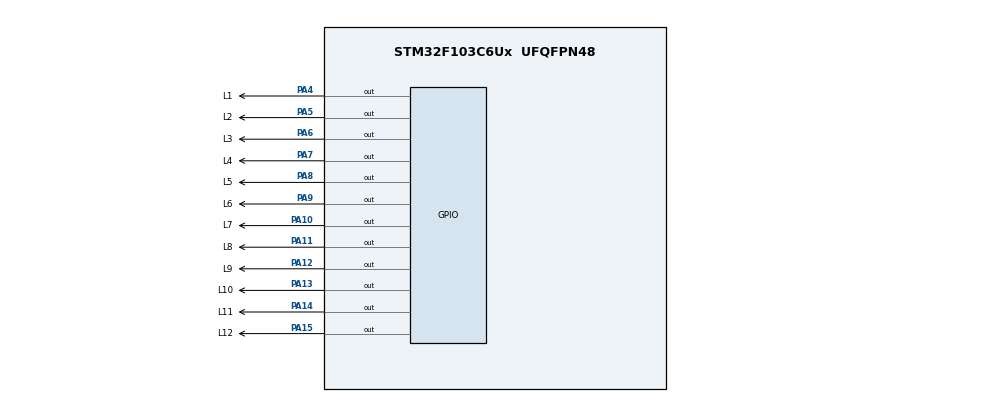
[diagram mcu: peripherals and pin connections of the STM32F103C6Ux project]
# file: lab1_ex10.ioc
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Mcu.Family=STM32F1
Mcu.Name=STM32F103C6Ux
Mcu.Package=UFQFPN48
NVIC.PriorityGroup=NVIC_PRIORITYGROUP_4
PA10.GPIO_Label=L7
PA10.Signal=GPIO_Output
PA11.GPIO_Label=L8
PA11.Signal=GPIO_Output
PA12.GPIO_Label=L9
PA12.Signal=GPIO_Output
PA13.GPIO_Label=L10
PA13.Signal=GPIO_Output
PA14.GPIO_Label=L11
PA14.Signal=GPIO_Output
PA15.GPIO_Label=L12
PA15.Signal=GPIO_Output
PA4.GPIO_Label=L1
PA4.Signal=GPIO_Output
PA5.GPIO_Label=L2
PA5.Signal=GPIO_Output
PA6.GPIO_Label=L3
PA6.Signal=GPIO_Output
PA7.GPIO_Label=L4
PA7.Signal=GPIO_Output
PA8.GPIO_Label=L5
PA8.Signal=GPIO_Output
PA9.GPIO_Label=L6
PA9.Signal=GPIO_Output
ProjectManager.HeapSize=0x200
ProjectManager.StackSize=0x400
ProjectManager.TargetToolchain=STM32CubeIDE
RCC.APB1Freq_Value=8000000
RCC.APB2Freq_Value=8000000
VP_SYS_VS_ND.Mode=No_Debug
board=custom

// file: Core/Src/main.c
/* USER CODE BEGIN Header */
/**
  ******************************************************************************
  * @file           : main.c
  * @brief          : Main program body
  ******************************************************************************
  * @attention
  *
  * <h2><center>&copy; Copyright (c) 2022 STMicroelectronics.
  * All rights reserved.</center></h2>
  *
  * This software component is licensed by ST under BSD 3-Clause license,
  * the "License"; You may not use this file except in compliance with the
  * License. You may obtain a copy of the License at:
  *                        opensource.org/licenses/BSD-3-Clause
  *
  ******************************************************************************
  */
/* USER CODE END Header */
#include "main.h"

void SystemClock_Config(void);
static void MX_GPIO_Init(void);

/* USER CODE BEGIN 0 */
void clearAllClock();
void setNumberOnClock(int num);
void clearNumberOnClock(int num);
/* USER CODE END 0 */

int main(void)
{

  /* MCU Configuration--------------------------------------------------------*/

  /* Reset of all peripherals, Initializes the Flash interface and the Systick. */
  HAL_Init();

  /* Configure the system clock */
  SystemClock_Config();

  /* Initialize all configured peripherals */
  MX_GPIO_Init();
  /* USER CODE BEGIN 2 */
  //start time is 3h:59m:45s
  int second = 45;
  int minute = 59;
  int hour = 3;
  /* USER CODE END 2 */

  /* Infinite loop */
  while (1)
  {

    /* USER CODE BEGIN 3 */
	  clearAllClock(); // removing the old state of all LEDs
	  setNumberOnClock(second/5); // turn on the led to show the number of seconds
	  setNumberOnClock(minute/5); // turn on the led to show the number of minutes
	  setNumberOnClock(hour); // turn on the led to show the number of hours

	  second++; // count the seconds
	  if(second >= 60) { // convert seconds to minutes if more than 60s
		  second = 0;
		  minute++;
	  }
	  if(minute >= 60) { // convert minutes to hours if more than 60 m
		  minute = 0;
		  hour++;
	  }
	  if(hour >= 12) { // the clock finishes a cycle
		  hour = 0;
	  }
	  HAL_Delay(1000);
  }
  /* USER CODE END 3 */
}

void SystemClock_Config(void)
{
  RCC_OscInitTypeDef RCC_OscInitStruct = {0};
  RCC_ClkInitTypeDef RCC_ClkInitStruct = {0};

  /** Initializes the RCC Oscillators according to the specified parameters
  * in the RCC_OscInitTypeDef structure.
  */
  RCC_OscInitStruct.OscillatorType = RCC_OSCILLATORTYPE_HSI;
  RCC_OscInitStruct.HSIState = RCC_HSI_ON;
  RCC_OscInitStruct.HSICalibrationValue = RCC_HSICALIBRATION_DEFAULT;
  RCC_OscInitStruct.PLL.PLLState = RCC_PLL_NONE;
  if (HAL_RCC_OscConfig(&RCC_OscInitStruct) != HAL_OK)
  {
    Error_Handler();
  }
  /** Initializes the CPU, AHB and APB buses clocks
  */
  RCC_ClkInitStruct.ClockType = RCC_CLOCKTYPE_HCLK|RCC_CLOCKTYPE_SYSCLK
                              |RCC_CLOCKTYPE_PCLK1|RCC_CLOCKTYPE_PCLK2;
  RCC_ClkInitStruct.SYSCLKSource = RCC_SYSCLKSOURCE_HSI;
  RCC_ClkInitStruct.AHBCLKDivider = RCC_SYSCLK_DIV1;
  RCC_ClkInitStruct.APB1CLKDivider = RCC_HCLK_DIV1;
  RCC_ClkInitStruct.APB2CLKDivider = RCC_HCLK_DIV1;

  if (HAL_RCC_ClockConfig(&RCC_ClkInitStruct, FLASH_LATENCY_0) != HAL_OK)
  {
    Error_Handler();
  }
}

static void MX_GPIO_Init(void)
{
  GPIO_InitTypeDef GPIO_InitStruct = {0};

  /* GPIO Ports Clock Enable */
  __HAL_RCC_GPIOA_CLK_ENABLE();

  /*Configure GPIO pin Output Level */
  HAL_GPIO_WritePin(GPIOA, L1_Pin|L2_Pin|L3_Pin|L4_Pin
                          |L5_Pin|L6_Pin|L7_Pin|L8_Pin
                          |L9_Pin|L10_Pin|L11_Pin|L12_Pin, GPIO_PIN_RESET);

  /*Configure GPIO pins : L1_Pin L2_Pin L3_Pin L4_Pin
                           L5_Pin L6_Pin L7_Pin L8_Pin
                           L9_Pin L10_Pin L11_Pin L12_Pin */
  GPIO_InitStruct.Pin = L1_Pin|L2_Pin|L3_Pin|L4_Pin
                          |L5_Pin|L6_Pin|L7_Pin|L8_Pin
                          |L9_Pin|L10_Pin|L11_Pin|L12_Pin;
  GPIO_InitStruct.Mode = GPIO_MODE_OUTPUT_PP;
  GPIO_InitStruct.Pull = GPIO_NOPULL;
  GPIO_InitStruct.Speed = GPIO_SPEED_FREQ_LOW;
  HAL_GPIO_Init(GPIOA, &GPIO_InitStruct);

}

/* USER CODE BEGIN 4 */
void clearAllClock() {
	HAL_GPIO_WritePin(L1_GPIO_Port, L1_Pin, GPIO_PIN_SET);
	HAL_GPIO_WritePin(L2_GPIO_Port, L2_Pin, GPIO_PIN_SET);
	HAL_GPIO_WritePin(L3_GPIO_Port, L3_Pin, GPIO_PIN_SET);
	HAL_GPIO_WritePin(L4_GPIO_Port, L4_Pin, GPIO_PIN_SET);
	HAL_GPIO_WritePin(L5_GPIO_Port, L5_Pin, GPIO_PIN_SET);
	HAL_GPIO_WritePin(L6_GPIO_Port, L6_Pin, GPIO_PIN_SET);
	HAL_GPIO_WritePin(L7_GPIO_Port, L7_Pin, GPIO_PIN_SET);
	HAL_GPIO_WritePin(L8_GPIO_Port, L8_Pin, GPIO_PIN_SET);
	HAL_GPIO_WritePin(L9_GPIO_Port, L9_Pin, GPIO_PIN_SET);
	HAL_GPIO_WritePin(L10_GPIO_Port, L10_Pin, GPIO_PIN_SET);
	HAL_GPIO_WritePin(L11_GPIO_Port, L11_Pin, GPIO_PIN_SET);
	HAL_GPIO_WritePin(L12_GPIO_Port, L12_Pin, GPIO_PIN_SET);
}

void setNumberOnClock(int num) {
	switch(num) {
	case 0:
		HAL_GPIO_WritePin(L1_GPIO_Port, L1_Pin, GPIO_PIN_RESET);
		break;
	case 1:
		HAL_GPIO_WritePin(L2_GPIO_Port, L2_Pin, GPIO_PIN_RESET);
		break;
	case 2:
		HAL_GPIO_WritePin(L3_GPIO_Port, L3_Pin, GPIO_PIN_RESET);
		break;
	case 3:
		HAL_GPIO_WritePin(L4_GPIO_Port, L4_Pin, GPIO_PIN_RESET);
		break;
	case 4:
		HAL_GPIO_WritePin(L5_GPIO_Port, L5_Pin, GPIO_PIN_RESET);
		break;
	case 5:
		HAL_GPIO_WritePin(L6_GPIO_Port, L6_Pin, GPIO_PIN_RESET);
		break;
	case 6:
		HAL_GPIO_WritePin(L7_GPIO_Port, L7_Pin, GPIO_PIN_RESET);
		break;
	case 7:
		HAL_GPIO_WritePin(L8_GPIO_Port, L8_Pin, GPIO_PIN_RESET);
		break;
	case 8:
		HAL_GPIO_WritePin(L9_GPIO_Port, L9_Pin, GPIO_PIN_RESET);
		break;
	case 9:
		HAL_GPIO_WritePin(L10_GPIO_Port, L10_Pin, GPIO_PIN_RESET);
		break;
	case 10:
		HAL_GPIO_WritePin(L11_GPIO_Port, L11_Pin, GPIO_PIN_RESET);
		break;
	case 11:
		HAL_GPIO_WritePin(L12_GPIO_Port, L12_Pin, GPIO_PIN_RESET);
		break;
	}
}

void clearNumberOnClock(int num) {
	switch(num) {
	case 0:
		HAL_GPIO_WritePin(L1_GPIO_Port, L1_Pin, GPIO_PIN_SET);
		break;
	case 1:
		HAL_GPIO_WritePin(L2_GPIO_Port, L2_Pin, GPIO_PIN_SET);
		break;
	case 2:
		HAL_GPIO_WritePin(L3_GPIO_Port, L3_Pin, GPIO_PIN_SET);
		break;
	case 3:
		HAL_GPIO_WritePin(L4_GPIO_Port, L4_Pin, GPIO_PIN_SET);
		break;
	case 4:
		HAL_GPIO_WritePin(L5_GPIO_Port, L5_Pin, GPIO_PIN_SET);
		break;
	case 5:
		HAL_GPIO_WritePin(L6_GPIO_Port, L6_Pin, GPIO_PIN_SET);
		break;
	case 6:
		HAL_GPIO_WritePin(L7_GPIO_Port, L7_Pin, GPIO_PIN_SET);
		break;
	case 7:
		HAL_GPIO_WritePin(L8_GPIO_Port, L8_Pin, GPIO_PIN_SET);
		break;
	case 8:
		HAL_GPIO_WritePin(L9_GPIO_Port, L9_Pin, GPIO_PIN_SET);
		break;
	case 9:
		HAL_GPIO_WritePin(L10_GPIO_Port, L10_Pin, GPIO_PIN_SET);
		break;
	case 10:
		HAL_GPIO_WritePin(L11_GPIO_Port, L11_Pin, GPIO_PIN_SET);
		break;
	case 11:
		HAL_GPIO_WritePin(L12_GPIO_Port, L12_Pin, GPIO_PIN_SET);
		break;
	}
}
/* USER CODE END 4 */

void Error_Handler(void)
{
  __disable_irq();
  while (1)
  {
  }
}

/************************ (C) COPYRIGHT STMicroelectronics *****END OF FILE****/
